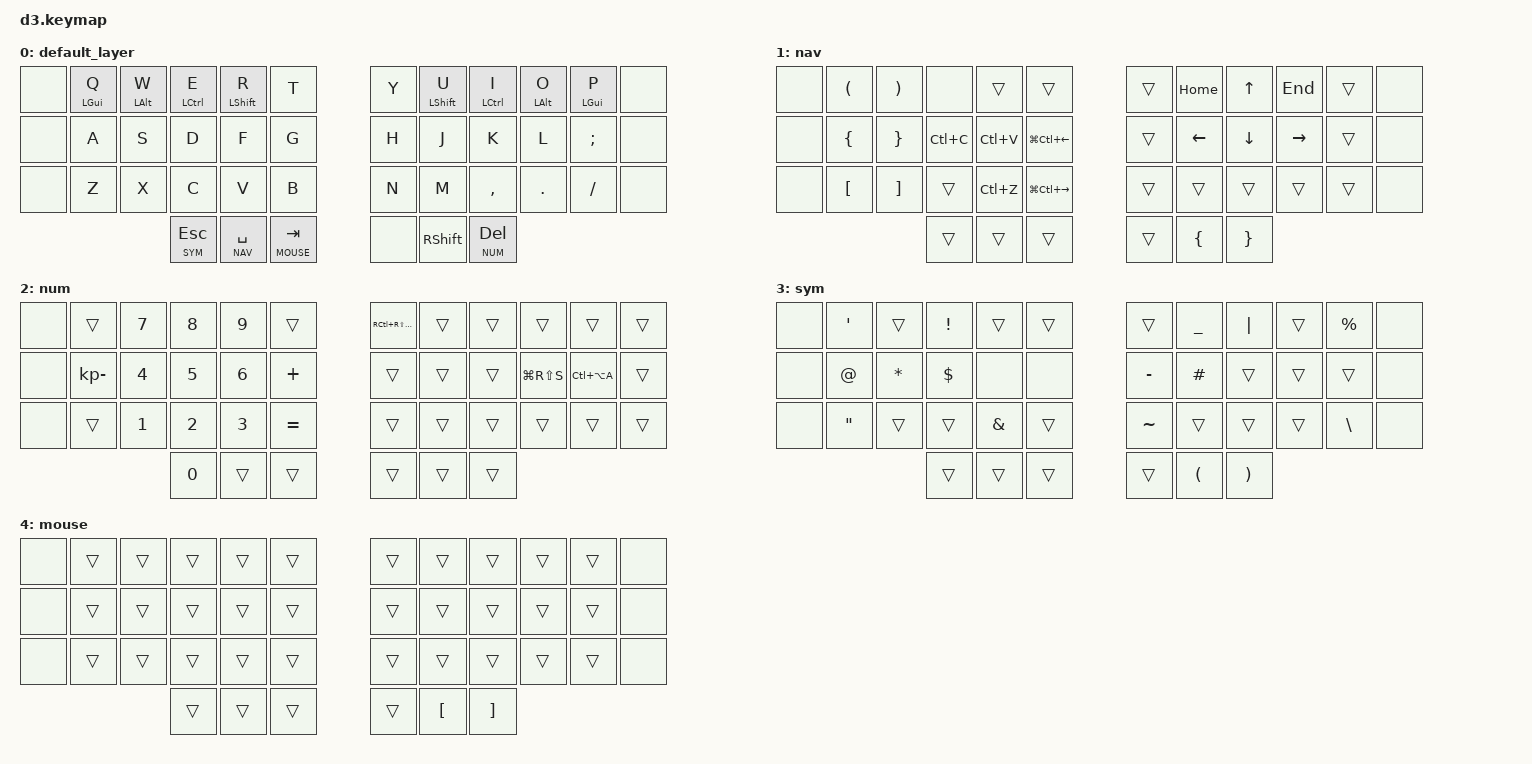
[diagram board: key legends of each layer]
#include <behaviors.dtsi>
#include <dt-bindings/zmk/keys.h>
#include <dt-bindings/zmk/bt.h>

#define DEFAULT 0
#define NAV   1
#define NUM   2
#define SYM   3
#define MOUSE   4

/ {
        behaviors {
                hm: homerow_mods {
                compatible = "zmk,behavior-hold-tap";
                label = "HOMEROW_MODS";
                #binding-cells = <2>;
                tapping-term-ms = <150>;
                quick_tap_ms = <0>;
                flavor = "tap-preferred";
                bindings = <&kp>, <&kp>;
        };
    };

        keymap {
                compatible = "zmk,keymap";

                default_layer {
                        bindings = <
   &none &hm LGUI Q &hm LALT W &hm LCTRL E &hm LSHIFT R &kp T           &kp Y &hm LSHIFT U  &hm LCTRL I     &hm LALT O   &hm LGUI P &none
   &none &kp A      &kp S      &kp D       &kp F        &kp G           &kp H &kp J         &kp K           &kp L        &kp SEMI   &none
   &none &kp Z      &kp X      &kp C       &kp V        &kp B           &kp N &kp M         &kp COMMA       &kp DOT      &kp FSLH   &none
                         &lt SYM ESC    &lt NAV SPACE &lt MOUSE TAB           &none &kp RSHIFT &lt NUM DEL
                        >;
                };
                nav {

                        bindings = <
   &none &kp LPAR  &kp RPAR  &none     &trans     &trans                      &trans &kp HOME  &kp UP   &kp END   &trans &none
   &none &kp LBRC  &kp RBRC  &kp LC(C) &kp LC(V)  &kp LG(LC(LEFT))            &trans &kp LEFT  &kp DOWN &kp RIGHT &trans &none
   &none &kp LBKT  &kp RBKT  &trans    &kp LC(Z)  &kp LG(LC(RIGHT))           &trans &trans    &trans   &trans    &trans &none
                                &trans     &trans     &trans            &trans  &kp LBRC  &kp RBRC
                        >;                         
                };                          
                num {

                        bindings = <
   &none &trans       &kp N7 &kp N8 &kp N9 &trans            &kp RC(RS(ESC)) &trans &trans &trans        &trans        &trans
   &none &kp KP_MINUS &kp N4 &kp N5 &kp N6 &kp PLUS          &trans          &trans &trans &kp LG(RS(S)) &kp LC(LA(A)) &trans
   &none &trans       &kp N1 &kp N2 &kp N3 &kp EQUAL         &trans          &trans &trans &trans        &trans        &trans
                    	     &kp N0     &trans     &trans              &trans  &trans   &trans
                        >;
                };
                sym {

                        bindings = <
   &none &kp APOS &trans    &kp EXCL  &trans   &trans      &trans    &kp UNDER &kp PIPE &trans  &kp PRCNT &none
   &none &kp AT   &kp ASTRK &kp DLLR  &none    &none       &kp MINUS &kp HASH  &trans   &trans  &trans    &none
   &none &kp DQT   &trans    &trans   &kp AMPS &trans      &kp TILDE &trans    &trans   &trans  &kp BSLH  &none
                         &trans     &trans     &trans      &trans  &kp LPAR  &kp RPAR
                        >;
                };
                mouse {

                        bindings = <
   &none &trans   &trans   &trans  &trans &trans &trans &trans &trans &trans &trans &none
   &none &trans   &trans   &trans  &trans &trans &trans &trans &trans &trans &trans &none
   &none &trans   &trans   &trans  &trans &trans &trans &trans &trans &trans &trans &none
                         &trans     &trans     &trans      &trans  &kp LBKT  &kp RBKT
                        >;
                };                                                
        };

        combos {
                compatible = "zmk,combos";
                combo_bksp {
                        timeout-ms = <50>;
                        key-positions = <19 20>;
                        bindings = <&kp BKSP>;
                };
                combo_ent {
                        timeout-ms = <50>;
                        key-positions = <20 21>;
                        bindings = <&kp RET>;
                };
                combo_delete {
                        timeout-ms = <50>;
                        key-positions = <19 20 31 32>;
                        bindings = <&kp DEL>;
                };                                                              
        };                
  };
